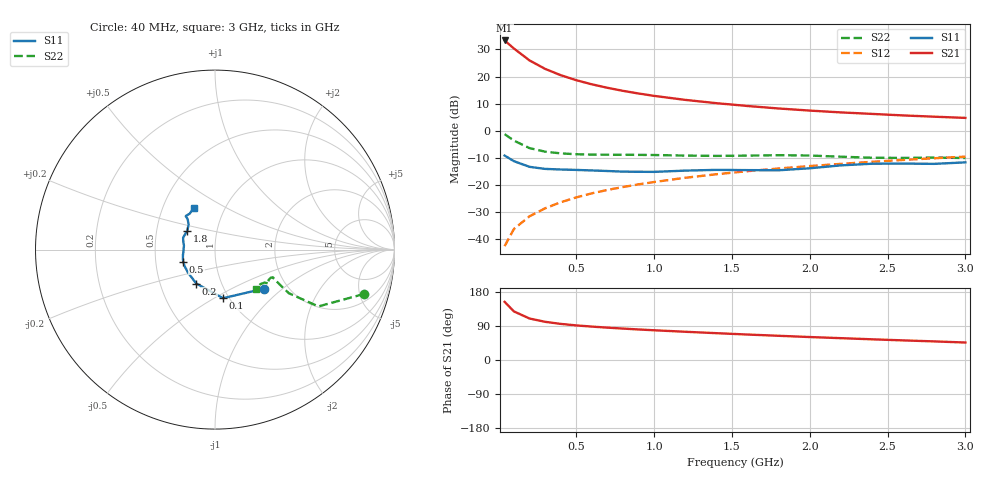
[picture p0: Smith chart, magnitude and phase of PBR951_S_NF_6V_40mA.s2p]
! Filename:  PBR951R.S2P  Version:  3.0
! Philips part #:  PBR951  Date: July 1998
! Bias condition:  Vce=6V, Ic=40mA
#  MHz  S  MA  R 50
! Freq  S11  S21  S12  S22
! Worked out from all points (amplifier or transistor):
!   21 points, 40 MHz to 3 GHz, reference 50 ohm
!   highest |S21| = 33.3 dB at 40 MHz (marker M1)
!   |S21| within 3 dB of that: start of sweep to 100.4 MHz
!   unconditionally stable (mu >= 1): 452.8 MHz to 2.067 GHz
!   at 300 MHz: K = 0.96, MSG = 25.7 dB, |S12| = -28.6 dB
!   at 1 GHz: K = 1.04, MAG = 14.7 dB, |S12| = -18.9 dB
!   at 3 GHz: K = 0.96, MSG = 7.1 dB, |S12| = -9.6 dB
!   lowest NFmin = 2.16 dB at 1 GHz
!   S11 on the Smith chart (normalised r, x): 40 MHz: 1.52, -0.76; 100 MHz: 0.94, -0.55; 200 MHz: 0.76, -0.30; 500 MHz: 0.69, -0.10; 1.8 GHz: 0.72, +0.16; 3 GHz: 0.71, +0.35
40  0.3489 -38.6  46.26 153.4  0.007431 78.9  0.8658 -16.6
100  0.2744 -80.5  32.81 128.1  0.01548 73.7  0.6573 -28.8
200  0.2159 -118.9  19.81 109.5  0.02641 75.4  0.4781 -30.6
300  0.1978 -139.3  13.85 100.8  0.03709 77.4  0.4114 -28.4
400  0.1929 -151.3  10.59 95.3  0.04796 78.4  0.3825 -27.0
500  0.1894 -159.5  8.561 91.3  0.05887 79.0  0.3686 -26.4
600  0.1852 -165.1  7.186 88.2  0.07004 79.4  0.3629 -26.1
700  0.1808 -170.8  6.199 85.4  0.08087 79.5  0.3613 -25.9
800  0.1761 -176.2  5.447 82.9  0.0916 79.6  0.3607 -25.7
900  0.175 178.5  4.866 80.6  0.1027 79.3  0.3587 -25.6
1000  0.1743 173.0  4.396 78.5  0.1133 79.0  0.3567 -25.6
1200  0.1839 164.6  3.71 74.5  0.1356 78.4  0.348 -26.8
1400  0.1898 159.2  3.226 70.8  0.1575 77.4  0.3435 -29.2
1600  0.1878 154.6  2.861 67.2  0.1795 76.5  0.3477 -31.8
1800  0.1866 145.8  2.574 63.9  0.2013 75.4  0.3539 -32.7
2000  0.2031 136.3  2.354 60.6  0.2229 74.2  0.3489 -32.6
2200  0.2297 131.7  2.179 57.6  0.2448 72.9  0.332 -33.6
2400  0.2464 131.3  2.045 54.6  0.2672 71.7  0.3175 -37.4
2600  0.2478 130.8  1.916 51.7  0.2894 70.6  0.3152 -42.1
2800  0.2449 125.1  1.816 49.1  0.3111 69.0  0.3201 -44.4
3000  0.2612 117.3  1.725 46.1  0.3328 67.7  0.314 -43.8
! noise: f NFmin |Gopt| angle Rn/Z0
500  2.233  0.162  -179.9  0.283
800  2.389  0.248  -179.4  0.153
900  2.397  0.299  -171.9  0.133
1000  2.16  0.676  -167.8  0.018
1500  2.74  0.468  -153.3  0.085
2000  3.203  0.42  -125.7  0.367
